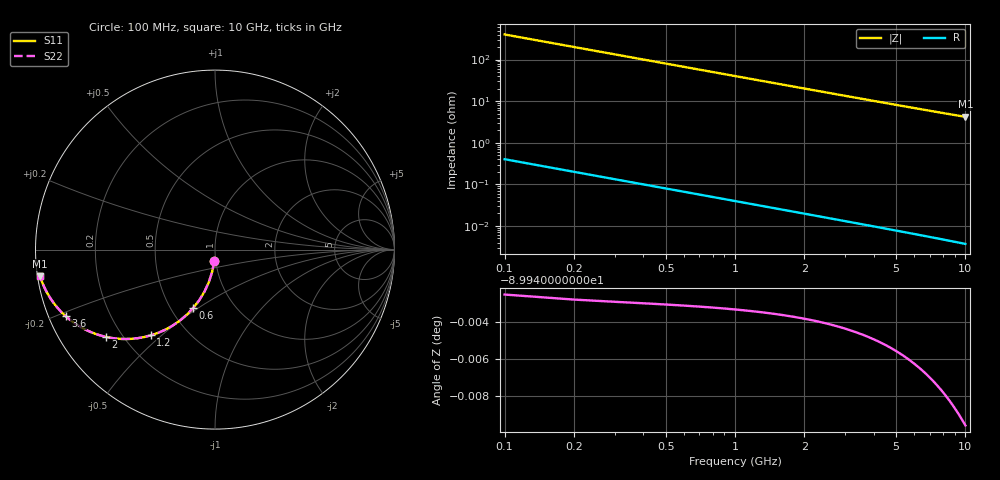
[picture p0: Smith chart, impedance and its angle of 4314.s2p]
# Hz S RI R 50.00
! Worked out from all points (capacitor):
!   100 points, 100 MHz to 10 GHz, reference 50 ohm
!   read as one part in shunt: C = 3.96 pF near 100 MHz
!   lowest |Z| = 4.21 ohm at 10 GHz (marker M1)
!   S11 on the Smith chart (normalised r, x): 100 MHz: 0.98, -0.12; 600 MHz: 0.64, -0.48; 1.2 GHz: 0.31, -0.46; 2 GHz: 0.14, -0.35; 3.6 GHz: 0.05, -0.21; 10 GHz: 0.01, -0.08
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1e8  -0.0039 -0.0619  0.9961 -0.0621  0.9961 -0.0621  -0.0039 -0.0619
2e8  -0.0154 -0.1224  0.9846 -0.1227  0.9846 -0.1227  -0.0154 -0.1224
3e8  -0.0338 -0.1801  0.9661 -0.1805  0.9661 -0.1805  -0.0338 -0.1801
4e8  -0.0585 -0.2339  0.9415 -0.2345  0.9415 -0.2345  -0.0585 -0.2339
5e8  -0.0884 -0.2831  0.9115 -0.2838  0.9115 -0.2838  -0.0884 -0.2831
6e8  -0.1225 -0.3269  0.8775 -0.3278  0.8775 -0.3278  -0.1225 -0.3269
7e8  -0.1596 -0.3652  0.8404 -0.3662  0.8404 -0.3662  -0.1596 -0.3652
9e8  -0.2387 -0.4251  0.7613 -0.4265  0.7613 -0.4265  -0.2387 -0.4251
1.2e9  -0.3576 -0.4779  0.6424 -0.4797  0.6424 -0.4797  -0.3576 -0.4779
1.5e9  -0.4649 -0.4971  0.5351 -0.4994  0.5351 -0.4994  -0.4649 -0.4971
1.8e9  -0.5554 -0.4951  0.4445 -0.4978  0.4445 -0.4978  -0.5554 -0.4951
2e9  -0.6065 -0.4865  0.3934 -0.4895  0.3934 -0.4895  -0.6065 -0.4865
2.3e9  -0.6707 -0.4677  0.3293 -0.4712  0.3293 -0.4712  -0.6707 -0.4677
2.6e9  -0.7222 -0.4455  0.2778 -0.4493  0.2778 -0.4493  -0.7222 -0.4455
3e9  -0.7756 -0.4144  0.2243 -0.4189  0.2243 -0.4189  -0.7756 -0.4144
3.4e9  -0.816 -0.3844  0.1839 -0.3895  0.1839 -0.3895  -0.816 -0.3844
3.6e9  -0.8325 -0.3702  0.1674 -0.3756  0.1674 -0.3756  -0.8325 -0.3702
4.3e9  -0.8763 -0.3255  0.1237 -0.332  0.1237 -0.332  -0.8763 -0.3255
5.1e9  -0.9087 -0.2836  0.0913 -0.2914  0.0913 -0.2914  -0.9087 -0.2836
6.7e9  -0.9449 -0.2223  0.055 -0.2326  0.055 -0.2326  -0.9449 -0.2223
8.4e9  -0.9643 -0.1783  0.0355 -0.1913  0.0355 -0.1913  -0.9643 -0.1783
1e10  -0.9746 -0.1486  0.0252 -0.1642  0.0252 -0.1642  -0.9746 -0.1486
